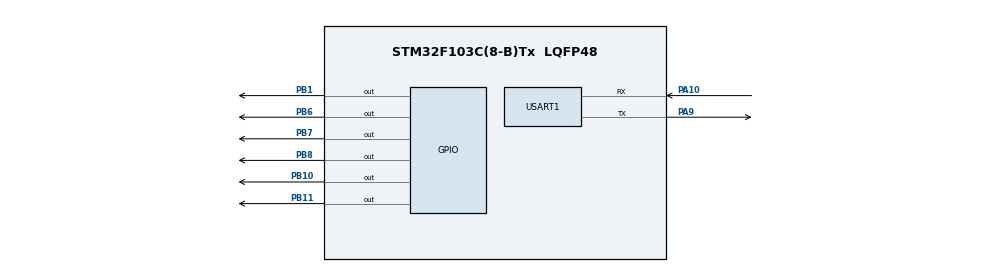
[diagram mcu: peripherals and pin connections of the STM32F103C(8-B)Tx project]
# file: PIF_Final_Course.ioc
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Mcu.Family=STM32F1
Mcu.Name=STM32F103C(8-B)Tx
Mcu.Package=LQFP48
NVIC.PriorityGroup=NVIC_PRIORITYGROUP_4
PA10.Mode=Asynchronous
PA10.Signal=USART1_RX
PA13.Mode=Serial_Wire
PA13.Signal=SYS_JTMS-SWDIO
PA14.Mode=Serial_Wire
PA14.Signal=SYS_JTCK-SWCLK
PA9.Mode=Asynchronous
PA9.Signal=USART1_TX
PB1.Signal=GPIO_Output
PB10.Signal=GPIO_Output
PB11.Signal=GPIO_Output
PB6.Signal=GPIO_Output
PB7.Signal=GPIO_Output
PB8.Signal=GPIO_Output
ProjectManager.HeapSize=0x200
ProjectManager.StackSize=0x400
ProjectManager.TargetToolchain=STM32CubeIDE
RCC.APB1Freq_Value=8000000
RCC.APB2Freq_Value=8000000
USART1.VirtualMode=VM_ASYNC
board=custom

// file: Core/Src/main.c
/* USER CODE BEGIN Header */
/**
  ******************************************************************************
  * @file           : main.c
  * @brief          : Main program body
  ******************************************************************************
  * @attention
  *
  * Copyright (c) 2023 STMicroelectronics.
  * All rights reserved.
  *
  * This software is licensed under terms that can be found in the LICENSE file
  * in the root directory of this software component.
  * If no LICENSE file comes with this software, it is provided AS-IS.
  *
  ******************************************************************************
  */
//The program belong to Nhan, Quoc, Huy Le, Huy Nguyen
/* USER CODE END Header */
#include "main.h"

/* USER CODE BEGIN Includes */
#include "string.h"
/* USER CODE END Includes */

UART_HandleTypeDef huart1;

void SystemClock_Config(void);
static void MX_GPIO_Init(void);
static void MX_USART1_UART_Init(void);

/* USER CODE BEGIN 0 */
char data[11] ="vietnam";
char input;
int* output;
int dot[63][6]={{0,0,0,0,0,0},{0,1,1,0,1,1},{0,0,0,1,0,0},{0,1,0,1,1,1},{1,1,1,0,0,1},{1,1,0,0,0,1},{1,1,1,0,1,1},{1,0,1,1,1,1},{0,1,1,1,1,1},{1,0,0,0,0,1},{0,1,0,0,1,1} ,{0,0,0,0,0,1} ,{0,0,0,0,1,1},{0,1,0,0,0,1},{0,1,0,0,1,0},
        {0,0,0,1,1,1},{0,0,1,0,0,0},{0,0,1,0,1,0},{0,0,1,1,0,0},{0,0,1,1,0,1},{0,0,1,0,0,1},{0,0,1,1,1,0},{0,0,1,1,1,1},{0,0,1,0,1,1},{0,0,0,1,1,0},{1,0,0,1,0,1},{0,0,0,1,0,1},{1,0,1,0,0,1},{1,1,1,1,1,1},{0,1,0,1,1,0},{1,1,0,1,0,1},
        {0,1,0,0,0,0},{1,0,0,0,0,0},{1,0,1,0,0,0},{1,1,0,0,0,0},{1,1,0,1,0,0},{1,0,0,1,0,0},{1,1,1,0,0,0},{1,1,1,1,0,0},{1,0,1,1,0,0},{0,1,1,0,0,0},{0,1,1,1,0,0},{1,0,0,0,1,0},{1,0,1,0,1,0},{1,1,0,0,1,0},{1,1,0,1,1,0},{1,0,0,1,1,0},{1,1,1,0,1,0},{1,1,1,1,1,0},{1,0,1,1,1,0},{0,1,1,0,1,0},{0,1,1,1,1,0},{1,0,0,0,1,1},{1,0,1,0,1,1},{0,1,1,1,0,1},{1,1,0,0,1,1},{1,1,0,1,1,1},{1,0,0,1,1,1},
        {0,1,1,0,0,1},{1,0,1,1,0,1},{1,1,1,1,0,1},{0,1,0,1,0,0},{0,1,0,1,0,1}};

char ascii[63]={' ', '!', '"', '#', '$', '%', '&', '(', ')', '*', '+', ',', '-', '.', '/',
        '0','1','2','3','4','5','6','7','8','9',':',';','<','=','>','?',
        '@','a','b','c','d','e','f','g','h','i','j','k','l','m','n','o','p','q','r','s','t','u','v','w','x','y','z',
         '[','\\',']','^','_'};

void Display_by_Solenoid(int* output){
	if(output[0]==0) HAL_GPIO_WritePin(GPIOB, GPIO_PIN_1, 1);
	else HAL_GPIO_WritePin(GPIOB, GPIO_PIN_1, 0);
	if(output[1]==0) HAL_GPIO_WritePin(GPIOB, GPIO_PIN_8, 1);
	else HAL_GPIO_WritePin(GPIOB, GPIO_PIN_1, 0);
	if(output[2]==0) HAL_GPIO_WritePin(GPIOB, GPIO_PIN_10,1);
	else HAL_GPIO_WritePin(GPIOB, GPIO_PIN_1, 0);
	if(output[3]==0) HAL_GPIO_WritePin(GPIOB, GPIO_PIN_7, 1);
	else HAL_GPIO_WritePin(GPIOB, GPIO_PIN_1, 0);
	if(output[4]==0) HAL_GPIO_WritePin(GPIOB, GPIO_PIN_11,1);
	else HAL_GPIO_WritePin(GPIOB, GPIO_PIN_1, 0);
	if(output[5]==0) HAL_GPIO_WritePin(GPIOB, GPIO_PIN_6, 1);
	else HAL_GPIO_WritePin(GPIOB, GPIO_PIN_1, 0);
}

void Capital_Letter(){
	HAL_GPIO_WritePin(GPIOB, GPIO_PIN_8,1);
	HAL_GPIO_WritePin(GPIOB, GPIO_PIN_6,1);
}

void number(){
	HAL_GPIO_WritePin(GPIOB, GPIO_PIN_1,1);
	HAL_GPIO_WritePin(GPIOB, GPIO_PIN_10,1);
}

/* USER CODE END 0 */

int main(void)
{
  /* USER CODE BEGIN 1 */

//B1: 1; B8: 2; B10: 3; B7: 4; B11: 5; B6: 6

  /* USER CODE END 1 */

  /* MCU Configuration--------------------------------------------------------*/

  /* Reset of all peripherals, Initializes the Flash interface and the Systick. */
  HAL_Init();

  /* Configure the system clock */
  SystemClock_Config();

  /* Initialize all configured peripherals */
  MX_GPIO_Init();
  MX_USART1_UART_Init();
  /* USER CODE BEGIN 2 */
  uint8_t capital_letter = 0;
  uint8_t finish_string = 0;
  /* USER CODE END 2 */

  /* Infinite loop */
  while (1)
  {
    /* USER CODE BEGIN 3 */
	  for(int i=0;i<strlen(data);i++){
	  		input = data[i];
	  		if(input >= 65 && input <= 90){
	  			input += 32;
	  			capital_letter = 1;
	  		}
	  		else if(input >= '0' && input <='9'){
	  			input += 49;
	  		}
	  		for(int j=0; j < sizeof(ascii);j++){
	  			if(input == ascii[j]){
	  				output = dot[j];
	  				if(capital_letter == 1) Capital_Letter();
	  				else if(finish_string==1) break;
	  				Display_by_Solenoid(output);
	  				HAL_Delay(1000);
	  				break;
	  			}
	  		}
	  	}
  }
  /* USER CODE END 3 */
}

void SystemClock_Config(void)
{
  RCC_OscInitTypeDef RCC_OscInitStruct = {0};
  RCC_ClkInitTypeDef RCC_ClkInitStruct = {0};

  /** Initializes the RCC Oscillators according to the specified parameters
  * in the RCC_OscInitTypeDef structure.
  */
  RCC_OscInitStruct.OscillatorType = RCC_OSCILLATORTYPE_HSI;
  RCC_OscInitStruct.HSIState = RCC_HSI_ON;
  RCC_OscInitStruct.HSICalibrationValue = RCC_HSICALIBRATION_DEFAULT;
  RCC_OscInitStruct.PLL.PLLState = RCC_PLL_NONE;
  if (HAL_RCC_OscConfig(&RCC_OscInitStruct) != HAL_OK)
  {
    Error_Handler();
  }

  /** Initializes the CPU, AHB and APB buses clocks
  */
  RCC_ClkInitStruct.ClockType = RCC_CLOCKTYPE_HCLK|RCC_CLOCKTYPE_SYSCLK
                              |RCC_CLOCKTYPE_PCLK1|RCC_CLOCKTYPE_PCLK2;
  RCC_ClkInitStruct.SYSCLKSource = RCC_SYSCLKSOURCE_HSI;
  RCC_ClkInitStruct.AHBCLKDivider = RCC_SYSCLK_DIV1;
  RCC_ClkInitStruct.APB1CLKDivider = RCC_HCLK_DIV1;
  RCC_ClkInitStruct.APB2CLKDivider = RCC_HCLK_DIV1;

  if (HAL_RCC_ClockConfig(&RCC_ClkInitStruct, FLASH_LATENCY_0) != HAL_OK)
  {
    Error_Handler();
  }
}

static void MX_USART1_UART_Init(void)
{

  huart1.Instance = USART1;
  huart1.Init.BaudRate = 115200;
  huart1.Init.WordLength = UART_WORDLENGTH_8B;
  huart1.Init.StopBits = UART_STOPBITS_1;
  huart1.Init.Parity = UART_PARITY_NONE;
  huart1.Init.Mode = UART_MODE_TX_RX;
  huart1.Init.HwFlowCtl = UART_HWCONTROL_NONE;
  huart1.Init.OverSampling = UART_OVERSAMPLING_16;
  if (HAL_UART_Init(&huart1) != HAL_OK)
  {
    Error_Handler();
  }

}

static void MX_GPIO_Init(void)
{
  GPIO_InitTypeDef GPIO_InitStruct = {0};

  /* GPIO Ports Clock Enable */
  __HAL_RCC_GPIOB_CLK_ENABLE();
  __HAL_RCC_GPIOA_CLK_ENABLE();

  /*Configure GPIO pin Output Level */
  HAL_GPIO_WritePin(GPIOB, GPIO_PIN_1|GPIO_PIN_10|GPIO_PIN_11|GPIO_PIN_6
                          |GPIO_PIN_7|GPIO_PIN_8, GPIO_PIN_RESET);

  /*Configure GPIO pins : PB1 PB10 PB11 PB6
                           PB7 PB8 */
  GPIO_InitStruct.Pin = GPIO_PIN_1|GPIO_PIN_10|GPIO_PIN_11|GPIO_PIN_6
                          |GPIO_PIN_7|GPIO_PIN_8;
  GPIO_InitStruct.Mode = GPIO_MODE_OUTPUT_PP;
  GPIO_InitStruct.Pull = GPIO_NOPULL;
  GPIO_InitStruct.Speed = GPIO_SPEED_FREQ_LOW;
  HAL_GPIO_Init(GPIOB, &GPIO_InitStruct);

}

void Error_Handler(void)
{
  __disable_irq();
  while (1)
  {
  }
}
